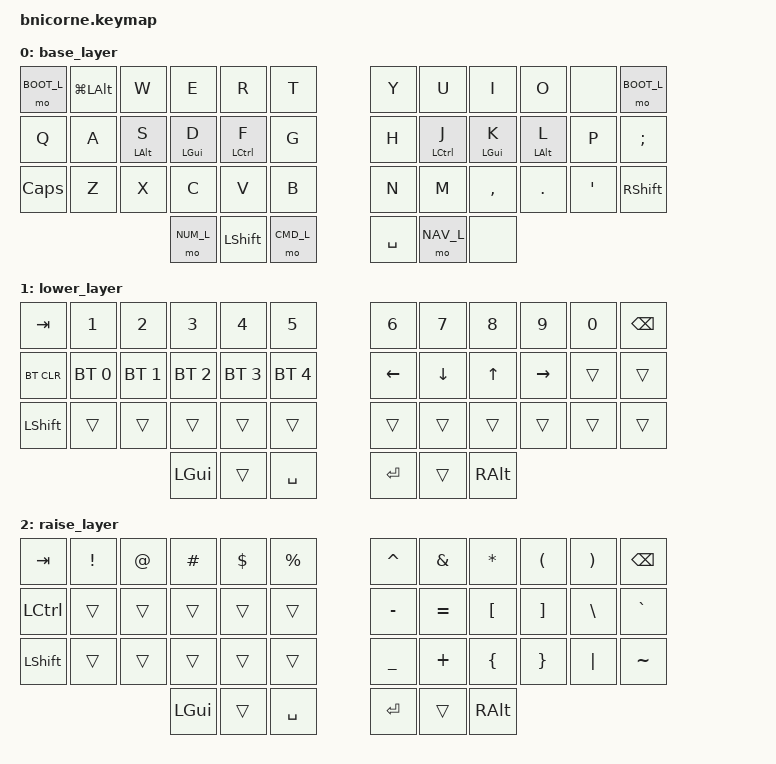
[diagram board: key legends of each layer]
/*
 * Copyright (c) 2020 The ZMK Contributors
 *
 * SPDX-License-Identifier: MIT
 */

#include <behaviors.dtsi>
#include <dt-bindings/zmk/keys.h>
#include <dt-bindings/zmk/bt.h>

#define BAS_L 0
#define M_L 1
#define FM_L 2
#define OH_L 3
#define CMD_L 4
#define NAV_L 5
#define NUM_L 6
#define BLUE_L 7
#define WIN_L 8
#define BOOT_L 9

/ {

        behaviors {
          ht_hp: holdtap_tapreferred {
            compatible = "zmk,behavior-hold-tap";
            label = "HOMEROW_MODS";
            #binding-cells = <2>;
            tapping-term-ms = <400>;
            flavor = "tap-preferred";
            bindings = <&kp>, <&kp>;
          };
        };
        keymap {
                compatible = "zmk,keymap";

                base_layer {
                        bindings = <
&mo BOOT_L  &kp LG(LALT)  &kp W           &kp E         &kp R           &kp T   &kp Y   &kp U           &kp I         &kp O         &none   &mo BOOT_L
&kp Q       &kp A         &ht_hp LALT S   &ht_hp LGUI D &ht_hp LCTRL F  &kp G   &kp H   &ht_hp LCTRL J  &ht_hp LGUI K &ht_hp LALT L &kp P   &kp SEMI
&kp CAPS    &kp Z         &kp X           &kp C         &kp V           &kp B   &kp N   &kp M           &kp COMMA     &kp DOT       &kp SQT &kp RSHIFT
&mo NUM_L &kp LSHFT &mo CMD_L &kp SPACE &mo NAV_L &none
                        >;
                };
                lower_layer {
// -----------------------------------------------------------------------------------------
// |  TAB |  1  |  2  |  3  |  4  |  5  |   |  6  |  7  |  8  |  9  |  0  | BKSP |
// | BTCLR| BT1 | BT2 | BT3 | BT4 | BT5 |   | LFT | DWN |  UP | RGT |     |      |
// | SHFT |     |     |     |     |     |   |     |     |     |     |     |      |
//                    | GUI |     | SPC |   | ENT |     | ALT |
                        bindings = <
   &kp TAB    &kp N1       &kp N2       &kp N3       &kp N4       &kp N5         &kp N6   &kp N7   &kp N8 &kp N9    &kp N0 &kp BSPC
   &bt BT_CLR &bt BT_SEL 0 &bt BT_SEL 1 &bt BT_SEL 2 &bt BT_SEL 3 &bt BT_SEL 4   &kp LEFT &kp DOWN &kp UP &kp RIGHT &trans &trans
   &kp LSHFT  &trans       &trans       &trans       &trans       &trans         &trans   &trans   &trans &trans    &trans &trans
                                    &kp LGUI     &trans       &kp SPACE      &kp RET  &trans   &kp RALT
                        >;
                };

                raise_layer {
// -----------------------------------------------------------------------------------------
// |  TAB |  !  |  @  |  #  |  $  |  %  |   |  ^  |  &  |  *  |  (  |  )  | BKSP |
// | CTRL |     |     |     |     |     |   |  -  |  =  |  [  |  ]  |  \  |  `   |
// | SHFT |     |     |     |     |     |   |  _  |  +  |  {  |  }  | "|" |  ~   |
//                    | GUI |     | SPC |   | ENT |     | ALT |
                        bindings = <
   &kp  TAB  &kp EXCL &kp AT &kp HASH &kp DLLR &kp PRCNT   &kp CARET &kp AMPS  &kp ASTRK &kp LPAR &kp RPAR &kp BSPC
   &kp LCTRL &trans   &trans &trans   &trans   &trans      &kp MINUS &kp EQUAL &kp LBKT  &kp RBKT &kp BSLH &kp GRAVE
   &kp LSHFT &trans   &trans &trans   &trans   &trans      &kp UNDER &kp PLUS  &kp LBRC  &kp RBRC &kp PIPE &kp TILDE
                             &kp LGUI &trans   &kp SPACE   &kp RET   &trans    &kp RALT
                        >;
                };
        };
};
